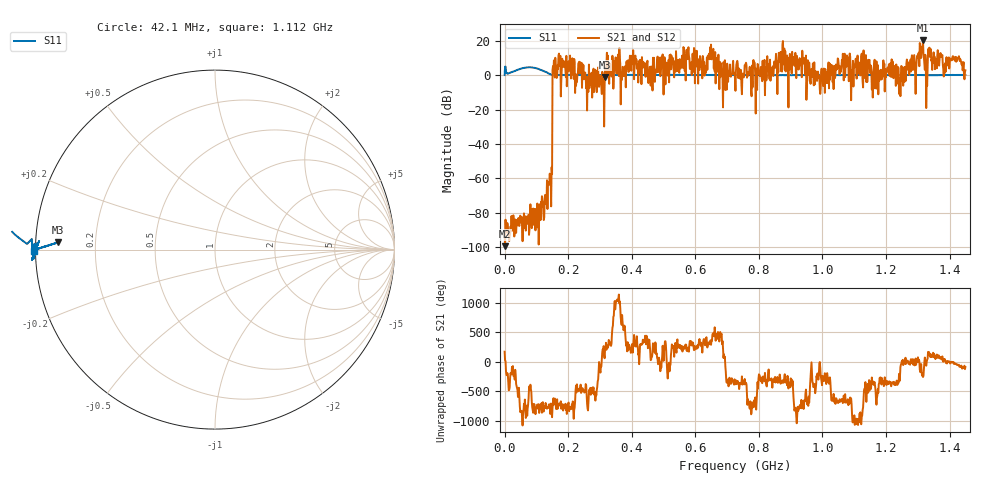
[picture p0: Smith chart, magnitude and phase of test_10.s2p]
! Created with skrf 1.11.0 (http://scikit-rf.org).
# Hz S RI R 50.0
!freq ReS11 ImS11 ReS21 ImS21 ReS12 ImS12 ReS22 ImS22
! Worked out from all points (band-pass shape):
!   1001 points, 50 kHz to 1.45 GHz, reference 50 ohm
!   highest |S21| = 20.12 dB at 1.317 GHz (marker M1); lowest = -99.4 dB at 1.5 MHz (marker M2)
!   |S21| within 3 dB of the highest: 649.5094 MHz to 649.726 MHz (216.6 kHz wide, 0.0333 % of centre); 874.3112 MHz to 876.2923 MHz (1.981 MHz wide, 0.226 % of centre) (the widest 2 of 4)
!   lowest |S11| = -1.1 dB at 316.1 MHz (marker M3), VSWR 15.22, Z = 3.29 + j1.12 ohm
!   |S11| at or under -10 dB: nowhere
!   |S22| runs from - to - dB; largest |S21 - S12| = 0
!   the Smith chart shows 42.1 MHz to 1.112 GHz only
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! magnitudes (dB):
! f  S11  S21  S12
! 50 kHz  0.0  -92.3  -92.3
! 1.5 MHz  4.9  -99.4  -99.4
! 127.6 MHz  2.0  -69.6  -69.6
! 142.1 MHz  0.6  -57.2  -57.2
! 158.1 MHz  0.0  -1.4  -1.4
! 242.2 MHz  0.1  7.1  7.1
! 262.5 MHz  0.1  -8.9  -8.9
! 316.1 MHz  -1.1  3.8  3.8
! 356.7 MHz  0.1  11.9  11.9
! 484.3 MHz  0.1  4.0  4.0
! 649.6 MHz  0.1  17.7  17.7
! 691.7 MHz  0.0  -4.5  -4.5
! 725 MHz  0.1  -2.0  -2.0
! 796.1 MHz  0.0  6.5  6.5
! 870 MHz  0.0  2.3  2.3
! 967.2 MHz  0.0  -0.8  -0.8
! 1.209 GHz  0.0  6.3  6.3
! 1.248 GHz  0.0  5.3  5.3
! 1.317 GHz  0.0  20.1  20.1
! 1.325 GHz  0.0  8.8  8.8
! 1.37 GHz  0.0  12.2  12.2
! 1.45 GHz  0.1  2.8  2.8
